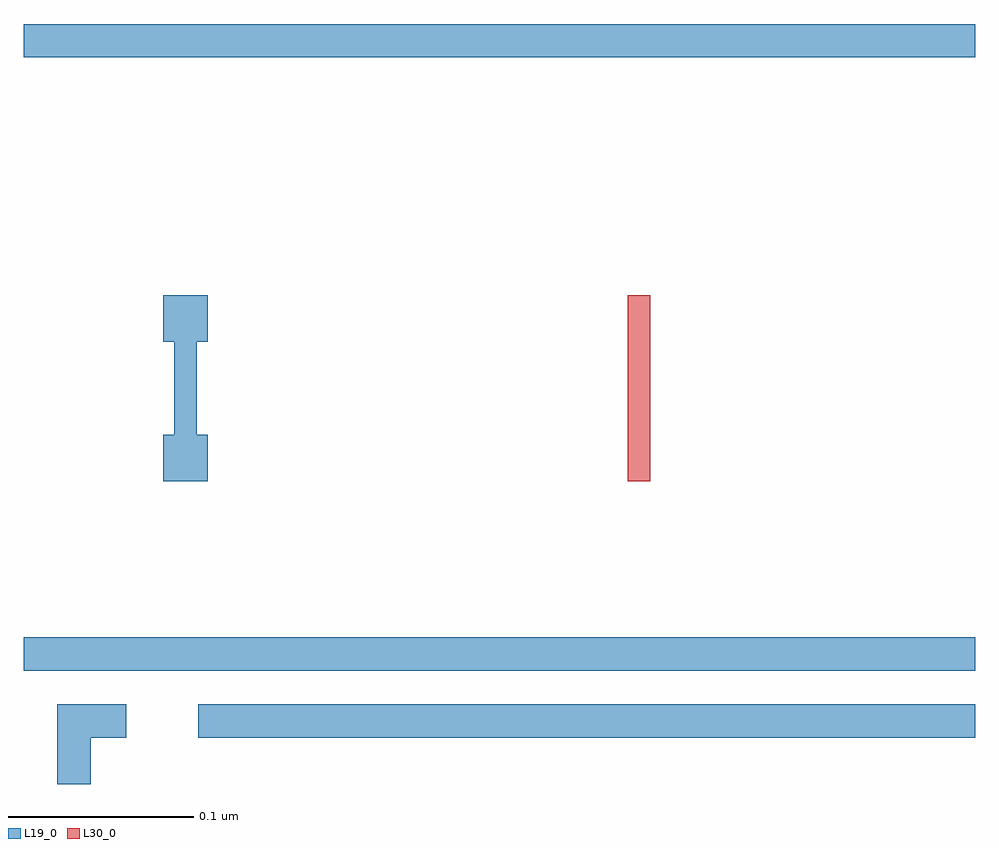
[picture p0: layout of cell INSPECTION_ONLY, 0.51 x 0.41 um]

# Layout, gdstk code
import gdstk
lib = gdstk.Library(unit=1e-6, precision=2.5e-10)
def R(c, l, rs):  # rectangles x0, y0, x1, y1
    for r in rs: c.add(gdstk.rectangle(r[:2], r[2:], *l))
def P(c, l, *ps):  # polygons
    for p in ps: c.add(gdstk.Polygon(p, *l))
L19_0 = (19, 0)
L30_0 = (30, 0)

inspection_only = lib.new_cell('INSPECTION_ONLY')
R(inspection_only, L19_0, [(0.094,0.225,0.512,0.243), (0,0.261,0.512,0.279), (0,0.591,0.512,0.609)])
P(inspection_only, L19_0, [(0.018,0.2),(0.018,0.243),(0.055,0.243),(0.055,0.225),(0.036,0.225),(0.036,0.2)],
  [(0.075,0.363),(0.075,0.388),(0.081,0.388),(0.081,0.438),(0.075,0.438),(0.075,0.463),(0.099,0.463),(0.099,0.438),(0.093,0.438),(0.093,0.388),(0.099,0.388),(0.099,0.363)])
R(inspection_only, L30_0, [(0.325,0.363,0.337,0.463)])

lib.write_gds('INSPECTION_ONLY.gds')
